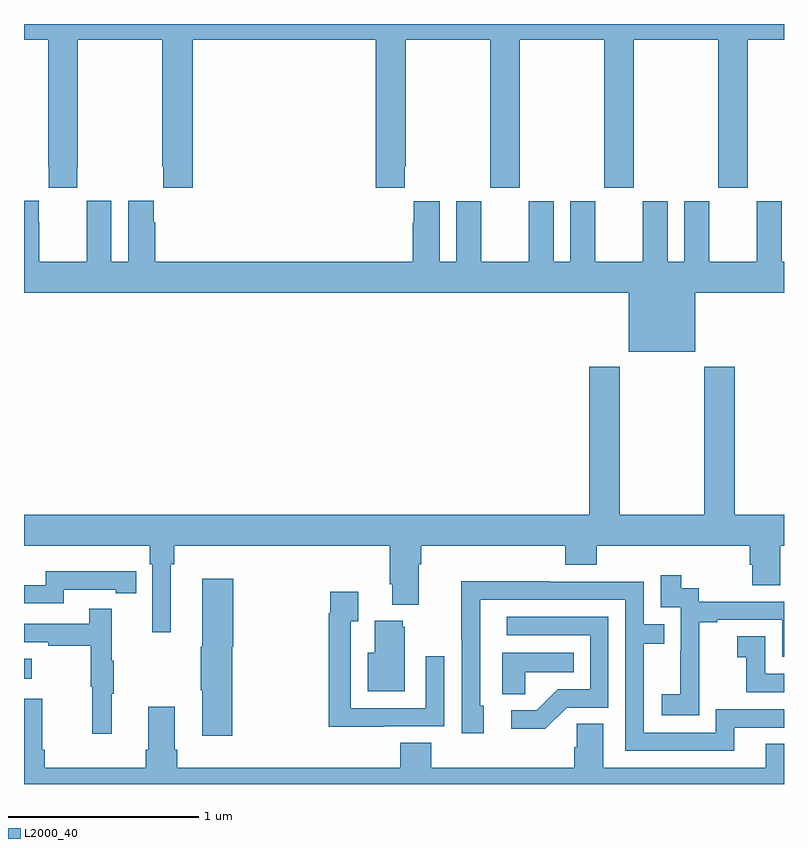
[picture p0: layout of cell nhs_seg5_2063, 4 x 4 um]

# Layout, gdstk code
import gdstk
lib = gdstk.Library(unit=1e-6, precision=1e-09)
def R(c, l, rs):  # rectangles x0, y0, x1, y1
    for r in rs: c.add(gdstk.rectangle(r[:2], r[2:], *l))
def P(c, l, *ps):  # polygons
    for p in ps: c.add(gdstk.Polygon(p, *l))
L2000_40 = (2000, 40)

nhs_seg5_2063 = lib.new_cell('nhs_seg5_2063')
R(nhs_seg5_2063, L2000_40, [(231,897.353,231.04,897.457)])
P(nhs_seg5_2063, L2000_40, [(231.279,900.049),(231.282,900.049),(231.282,900.716),(231.727,900.716),(231.727,900.049),(231.733,900.049),(231.733,899.937),(231.887,899.937),(231.887,900.716),(232.85,900.716),(232.85,899.937),(233.005,899.937),(233.005,900.049),(233.01,900.049),(233.01,900.716),(233.455,900.716),(233.455,899.937),(233.61,899.937),(233.61,900.716),(234.055,900.716),(234.055,899.937),(234.21,899.937),(234.21,900.716),(234.655,900.716),(234.655,899.937),(234.81,899.937),(234.81,900.716),(235,900.716),(235,900.799),(231,900.799),(231,900.716),(231.127,900.716),(231.127,900.049),(231.129,900.049),(231.129,899.937),(231.279,899.937)],
  [(234.182,899.075),(234.532,899.075),(234.532,899.384),(235,899.384),(235,899.548),(234.988,899.548),(234.988,899.866),(234.857,899.866),(234.857,899.548),(234.607,899.548),(234.607,899.866),(234.476,899.866),(234.476,899.548),(234.388,899.548),(234.388,899.866),(234.257,899.866),(234.257,899.548),(234.007,899.548),(234.007,899.866),(233.876,899.866),(233.876,899.548),(233.788,899.548),(233.788,899.866),(233.657,899.866),(233.657,899.548),(233.407,899.548),(233.407,899.866),(233.276,899.866),(233.276,899.548),(233.188,899.548),(233.188,899.866),(233.051,899.866),(233.051,899.753),(233.045,899.753),(233.045,899.548),(231.692,899.548),(231.692,899.756),(231.682,899.756),(231.682,899.869),(231.548,899.869),(231.548,899.548),(231.46,899.548),(231.46,899.869),(231.33,899.869),(231.33,899.756),(231.329,899.756),(231.329,899.548),(231.079,899.548),(231.079,899.756),(231.078,899.756),(231.078,899.869),(231,899.869),(231,899.384),(234.182,899.384)],
  [(234.821,897.954),(234.833,897.954),(234.833,897.844),(234.981,897.844),(234.981,898.052),(235,898.052),(235,898.216),(234.74,898.216),(234.74,898.996),(234.58,898.996),(234.58,898.216),(234.135,898.216),(234.135,898.996),(233.975,898.996),(233.975,898.216),(231,898.216),(231,898.052),(231.662,898.052),(231.662,897.956),(231.675,897.956),(231.675,897.597),(231.772,897.597),(231.772,897.956),(231.791,897.956),(231.791,898.052),(232.925,898.052),(232.925,897.85),(232.937,897.85),(232.937,897.743),(233.077,897.743),(233.077,897.956),(233.09,897.956),(233.09,898.052),(233.849,898.052),(233.849,897.953),(234.014,897.953),(234.014,898.052),(234.821,898.052)],
  [(231.21,897.822),(231.482,897.822),(231.482,897.802),(231.59,897.802),(231.59,897.918),(231.482,897.918),(231.482,897.919),(231.114,897.919),(231.114,897.846),(231,897.846),(231,897.75),(231.21,897.75)],
  [(234.555,897.367),(234.554,897.367),(234.554,897.651),(234.649,897.651),(234.649,897.663),(234.99,897.663),(234.99,897.468),(235,897.468),(235,897.759),(234.552,897.759),(234.552,897.828),(234.46,897.828),(234.46,897.898),(234.351,897.898),(234.351,897.729),(234.456,897.729),(234.456,897.5),(234.455,897.5),(234.455,897.271),(234.357,897.271),(234.357,897.161),(234.555,897.161)],
  [(232.097,897.522),(232.102,897.522),(232.102,897.88),(231.938,897.88),(231.938,897.522),(231.931,897.522),(231.931,897.292),(231.938,897.292),(231.938,897.054),(232.097,897.054)],
  [(234.739,897.096),(235,897.096),(235,897.192),(234.642,897.192),(234.642,897.069),(234.261,897.069),(234.261,897.538),(234.371,897.538),(234.371,897.639),(234.261,897.639),(234.261,897.864),(233.765,897.864),(233.765,897.866),(233.302,897.866),(233.302,897.559),(233.304,897.559),(233.304,897.066),(233.419,897.066),(233.419,897.21),(233.4,897.21),(233.4,897.768),(234.165,897.768),(234.165,896.973),(234.739,896.973)],
  [(232.895,897.102),(233.211,897.102),(233.211,897.472),(233.115,897.472),(233.115,897.198),(232.719,897.198),(232.719,897.655),(232.759,897.655),(232.759,897.811),(232.611,897.811),(232.611,897.698),(232.603,897.698),(232.603,897.101),(232.895,897.101)],
  [(231.461,897.275),(231.472,897.275),(231.472,897.449),(231.461,897.449),(231.461,897.721),(231.343,897.721),(231.343,897.642),(231,897.642),(231,897.546),(231.127,897.546),(231.127,897.526),(231.351,897.526),(231.351,897.312),(231.358,897.312),(231.358,897.063),(231.461,897.063)],
  [(233.856,897.201),(234.075,897.201),(234.075,897.678),(233.541,897.678),(233.541,897.582),(233.979,897.582),(233.979,897.297),(233.81,897.297),(233.699,897.186),(233.565,897.186),(233.565,897.089),(233.743,897.089)],
  [(233.005,897.627),(232.994,897.627),(232.994,897.658),(232.847,897.658),(232.847,897.49),(232.808,897.49),(232.808,897.287),(233.005,897.287)],
  [(235,897.378),(234.9,897.378),(234.9,897.577),(234.753,897.577),(234.753,897.467),(234.802,897.467),(234.802,897.282),(235,897.282)],
  [(233.637,897.386),(233.894,897.386),(233.894,897.49),(233.516,897.49),(233.516,897.271),(233.637,897.271)],
  [(235,897.011),(234.905,897.011),(234.905,896.884),(234.049,896.884),(234.049,897.116),(233.91,897.116),(233.91,896.993),(233.897,896.993),(233.897,896.884),(233.144,896.884),(233.144,897.017),(232.979,897.017),(232.979,896.884),(231.806,896.884),(231.806,896.98),(231.793,896.98),(231.793,897.205),(231.653,897.205),(231.653,896.98),(231.641,896.98),(231.641,896.884),(231.11,896.884),(231.11,896.98),(231.097,896.98),(231.097,897.247),(231,897.247),(231,896.799),(235,896.799)])

lib.write_gds('nhs_seg5_2063.gds')
